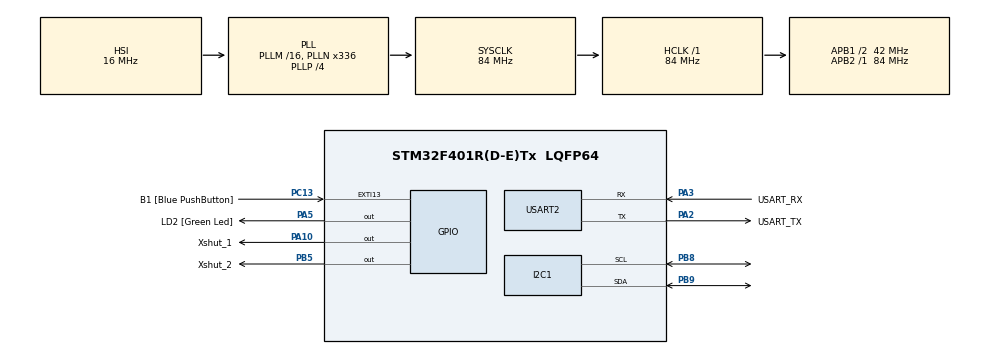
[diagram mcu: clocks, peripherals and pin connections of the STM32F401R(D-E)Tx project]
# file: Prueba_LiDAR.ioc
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Mcu.Family=STM32F4
Mcu.Name=STM32F401R(D-E)Tx
Mcu.Package=LQFP64
NVIC.PriorityGroup=NVIC_PRIORITYGROUP_4
PA10.GPIO_Label=Xshut_1
PA10.Signal=GPIO_Output
PA13.GPIO_Label=TMS
PA13.Mode=Trace_Asynchronous_SW
PA13.Signal=SYS_JTMS-SWDIO
PA14.GPIO_Label=TCK
PA14.Mode=Trace_Asynchronous_SW
PA14.Signal=SYS_JTCK-SWCLK
PA2.GPIO_Label=USART_TX
PA2.GPIO_Mode=GPIO_MODE_AF_PP
PA2.GPIO_PuPd=GPIO_NOPULL
PA2.GPIO_Speed=GPIO_SPEED_FREQ_LOW
PA2.Mode=Asynchronous
PA2.Signal=USART2_TX
PA3.GPIO_Label=USART_RX
PA3.GPIO_Mode=GPIO_MODE_AF_PP
PA3.GPIO_PuPd=GPIO_NOPULL
PA3.GPIO_Speed=GPIO_SPEED_FREQ_LOW
PA3.Mode=Asynchronous
PA3.Signal=USART2_RX
PA5.GPIO_Label=LD2 [Green Led]
PA5.GPIO_Mode=GPIO_MODE_OUTPUT_PP
PA5.GPIO_PuPd=GPIO_NOPULL
PA5.GPIO_Speed=GPIO_SPEED_FREQ_LOW
PA5.Signal=GPIO_Output
PB3.GPIO_Label=SWO
PB3.Mode=Trace_Asynchronous_SW
PB3.Signal=SYS_JTDO-SWO
PB5.GPIO_Label=Xshut_2
PB5.Signal=GPIO_Output
PB8.GPIO_Pu=GPIO_PULLUP
PB8.Mode=I2C
PB8.Signal=I2C1_SCL
PB9.GPIO_Pu=GPIO_PULLUP
PB9.Mode=I2C
PB9.Signal=I2C1_SDA
PC13-ANTI_TAMP.GPIO_Label=B1 [Blue PushButton]
PC13-ANTI_TAMP.GPIO_ModeDefaultEXTI=GPIO_MODE_IT_FALLING
PC13-ANTI_TAMP.GPIO_PuPd=GPIO_NOPULL
PC13-ANTI_TAMP.Signal=GPXTI13
PC14-OSC32_IN.Mode=LSE-External-Oscillator
PC14-OSC32_IN.Signal=RCC_OSC32_IN
PC15-OSC32_OUT.Mode=LSE-External-Oscillator
PC15-OSC32_OUT.Signal=RCC_OSC32_OUT
PH0\ -\ OSC_IN.Mode=HSE-External-Clock-Source
PH0\ -\ OSC_IN.Signal=RCC_OSC_IN
PH1\ -\ OSC_OUT.Mode=HSE-External-Clock-Source
PH1\ -\ OSC_OUT.Signal=RCC_OSC_OUT
ProjectManager.HeapSize=0x200
ProjectManager.StackSize=0x400
ProjectManager.TargetToolchain=STM32CubeIDE
RCC.48MHZClocksFreq_Value=48000000
RCC.AHBFreq_Value=84000000
RCC.APB1CLKDivider=RCC_HCLK_DIV2
RCC.APB1Freq_Value=42000000
RCC.APB1TimFreq_Value=84000000
RCC.APB2Freq_Value=84000000
RCC.APB2TimFreq_Value=84000000
RCC.CortexFreq_Value=84000000
RCC.HCLKFreq_Value=84000000
RCC.HSE_VALUE=8000000
RCC.HSI_VALUE=16000000
RCC.PLLN=336
RCC.PLLP=RCC_PLLP_DIV4
RCC.PLLQ=7
RCC.SYSCLKFreq_VALUE=84000000
RCC.SYSCLKSource=RCC_SYSCLKSOURCE_PLLCLK
RCC.VCOOutputFreq_Value=336000000
USART2.VirtualMode=VM_ASYNC
board=NUCLEO-F401RE

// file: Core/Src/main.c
/* USER CODE BEGIN Header */
/**
  ******************************************************************************
  * @file           : main.c
  * @brief          : Main program body
  ******************************************************************************
  */
/* USER CODE END Header */
#include "main.h"

/* USER CODE BEGIN Includes */
#include <stdio.h>
#include <string.h>
#include "VL53L4CD_api.h"  // <--- Añadimos el "diccionario" del sensor
/* USER CODE END Includes */

I2C_HandleTypeDef hi2c1;

UART_HandleTypeDef huart2;

void SystemClock_Config(void);
static void MX_GPIO_Init(void);
static void MX_I2C1_Init(void);
static void MX_USART2_UART_Init(void);

int main(void)
{

  /* MCU Configuration--------------------------------------------------------*/

  /* Reset of all peripherals, Initializes the Flash interface and the Systick. */
  HAL_Init();

  /* Configure the system clock */
  SystemClock_Config();

  /* Initialize all configured peripherals */
  MX_GPIO_Init();
  MX_I2C1_Init();
  MX_USART2_UART_Init();
  /* USER CODE BEGIN 2 */

    // Variables para las direcciones I2C de los sensores (usamos 8 bits, 0x52 es el de fábrica)
    uint16_t dev1 = 0x52;
    uint16_t dev2 = 0x52;

    // 1. Apagamos LOS DOS sensores por precaución
    HAL_GPIO_WritePin(Xshut_1_GPIO_Port, Xshut_1_Pin, GPIO_PIN_RESET);
    HAL_GPIO_WritePin(Xshut_2_GPIO_Port, Xshut_2_Pin, GPIO_PIN_RESET);
    HAL_Delay(20);

    // 2. Encendemos SOLO el Sensor 1
    HAL_GPIO_WritePin(Xshut_1_GPIO_Port, Xshut_1_Pin, GPIO_PIN_SET);
    HAL_Delay(20);

    // 3. CAMBIO DE DNI DEL SENSOR 1
    // Le ponemos la dirección 0x54 (tiene que ser par por temas del bit de lectura/escritura)
    VL53L4CD_SetI2CAddress(dev1, 0x54);
    dev1 = 0x54; // Actualizamos la variable para el resto del código

    // 4. Encendemos el Sensor 2 (se queda con su dirección 0x52)
    HAL_GPIO_WritePin(Xshut_2_GPIO_Port, Xshut_2_Pin, GPIO_PIN_SET);
    HAL_Delay(20);

    // 5. INICIALIZACIÓN DE LOS DOS SENSORES
    VL53L4CD_SensorInit(dev1);
    VL53L4CD_SensorInit(dev2);

    // 6. Les decimos que empiecen a medir
    VL53L4CD_StartRanging(dev1);
    VL53L4CD_StartRanging(dev2);

    /* USER CODE END 2 */
  /* Infinite loop */
  while (1)
  {

	  /* USER CODE BEGIN 3 */

	      // Aquí declaramos el buffer que faltaba (una caja para 50 letras)
	      char buffer[50];

	      uint8_t isReady1 = 0, isReady2 = 0;
	      VL53L4CD_ResultsData_t results1, results2;

	      // --- LEER SENSOR 1 ---
	      VL53L4CD_CheckForDataReady(dev1, &isReady1);
	      if (isReady1 == 1) {
	          VL53L4CD_ClearInterrupt(dev1);
	          VL53L4CD_GetResult(dev1, &results1);

	          // Imprimimos la distancia del S1
	          sprintf(buffer, "S1: %u mm | ", results1.distance_mm);
	          HAL_UART_Transmit(&huart2, (uint8_t*)buffer, strlen(buffer), 100);
	      }

	      // --- LEER SENSOR 2 ---
	      VL53L4CD_CheckForDataReady(dev2, &isReady2);
	      if (isReady2 == 1) {
	          VL53L4CD_ClearInterrupt(dev2);
	          VL53L4CD_GetResult(dev2, &results2);

	          // Imprimimos la distancia del S2 y un salto de línea
	          sprintf(buffer, "S2: %u mm\r\n", results2.distance_mm);
	          HAL_UART_Transmit(&huart2, (uint8_t*)buffer, strlen(buffer), 100);
	      }

	      HAL_Delay(50); // Pausa pequeña
	    }
	    /* USER CODE END 3 */
}

void SystemClock_Config(void)
{
  RCC_OscInitTypeDef RCC_OscInitStruct = {0};
  RCC_ClkInitTypeDef RCC_ClkInitStruct = {0};

  /** Configure the main internal regulator output voltage
  */
  __HAL_RCC_PWR_CLK_ENABLE();
  __HAL_PWR_VOLTAGESCALING_CONFIG(PWR_REGULATOR_VOLTAGE_SCALE2);

  /** Initializes the RCC Oscillators according to the specified parameters
  * in the RCC_OscInitTypeDef structure.
  */
  RCC_OscInitStruct.OscillatorType = RCC_OSCILLATORTYPE_HSI;
  RCC_OscInitStruct.HSIState = RCC_HSI_ON;
  RCC_OscInitStruct.HSICalibrationValue = RCC_HSICALIBRATION_DEFAULT;
  RCC_OscInitStruct.PLL.PLLState = RCC_PLL_ON;
  RCC_OscInitStruct.PLL.PLLSource = RCC_PLLSOURCE_HSI;
  RCC_OscInitStruct.PLL.PLLM = 16;
  RCC_OscInitStruct.PLL.PLLN = 336;
  RCC_OscInitStruct.PLL.PLLP = RCC_PLLP_DIV4;
  RCC_OscInitStruct.PLL.PLLQ = 7;
  if (HAL_RCC_OscConfig(&RCC_OscInitStruct) != HAL_OK)
  {
    Error_Handler();
  }

  /** Initializes the CPU, AHB and APB buses clocks
  */
  RCC_ClkInitStruct.ClockType = RCC_CLOCKTYPE_HCLK|RCC_CLOCKTYPE_SYSCLK
                              |RCC_CLOCKTYPE_PCLK1|RCC_CLOCKTYPE_PCLK2;
  RCC_ClkInitStruct.SYSCLKSource = RCC_SYSCLKSOURCE_PLLCLK;
  RCC_ClkInitStruct.AHBCLKDivider = RCC_SYSCLK_DIV1;
  RCC_ClkInitStruct.APB1CLKDivider = RCC_HCLK_DIV2;
  RCC_ClkInitStruct.APB2CLKDivider = RCC_HCLK_DIV1;

  if (HAL_RCC_ClockConfig(&RCC_ClkInitStruct, FLASH_LATENCY_2) != HAL_OK)
  {
    Error_Handler();
  }
}

static void MX_I2C1_Init(void)
{

  hi2c1.Instance = I2C1;
  hi2c1.Init.ClockSpeed = 100000;
  hi2c1.Init.DutyCycle = I2C_DUTYCYCLE_2;
  hi2c1.Init.OwnAddress1 = 0;
  hi2c1.Init.AddressingMode = I2C_ADDRESSINGMODE_7BIT;
  hi2c1.Init.DualAddressMode = I2C_DUALADDRESS_DISABLE;
  hi2c1.Init.OwnAddress2 = 0;
  hi2c1.Init.GeneralCallMode = I2C_GENERALCALL_DISABLE;
  hi2c1.Init.NoStretchMode = I2C_NOSTRETCH_DISABLE;
  if (HAL_I2C_Init(&hi2c1) != HAL_OK)
  {
    Error_Handler();
  }

}

static void MX_USART2_UART_Init(void)
{

  huart2.Instance = USART2;
  huart2.Init.BaudRate = 115200;
  huart2.Init.WordLength = UART_WORDLENGTH_8B;
  huart2.Init.StopBits = UART_STOPBITS_1;
  huart2.Init.Parity = UART_PARITY_NONE;
  huart2.Init.Mode = UART_MODE_TX_RX;
  huart2.Init.HwFlowCtl = UART_HWCONTROL_NONE;
  huart2.Init.OverSampling = UART_OVERSAMPLING_16;
  if (HAL_UART_Init(&huart2) != HAL_OK)
  {
    Error_Handler();
  }

}

static void MX_GPIO_Init(void)
{
  GPIO_InitTypeDef GPIO_InitStruct = {0};

  /* GPIO Ports Clock Enable */
  __HAL_RCC_GPIOC_CLK_ENABLE();
  __HAL_RCC_GPIOH_CLK_ENABLE();
  __HAL_RCC_GPIOA_CLK_ENABLE();
  __HAL_RCC_GPIOB_CLK_ENABLE();

  /*Configure GPIO pin Output Level */
  HAL_GPIO_WritePin(GPIOA, LD2_Pin|Xshut_1_Pin, GPIO_PIN_RESET);

  /*Configure GPIO pin Output Level */
  HAL_GPIO_WritePin(Xshut_2_GPIO_Port, Xshut_2_Pin, GPIO_PIN_RESET);

  /*Configure GPIO pin : B1_Pin */
  GPIO_InitStruct.Pin = B1_Pin;
  GPIO_InitStruct.Mode = GPIO_MODE_IT_FALLING;
  GPIO_InitStruct.Pull = GPIO_NOPULL;
  HAL_GPIO_Init(B1_GPIO_Port, &GPIO_InitStruct);

  /*Configure GPIO pins : LD2_Pin Xshut_1_Pin */
  GPIO_InitStruct.Pin = LD2_Pin|Xshut_1_Pin;
  GPIO_InitStruct.Mode = GPIO_MODE_OUTPUT_PP;
  GPIO_InitStruct.Pull = GPIO_NOPULL;
  GPIO_InitStruct.Speed = GPIO_SPEED_FREQ_LOW;
  HAL_GPIO_Init(GPIOA, &GPIO_InitStruct);

  /*Configure GPIO pin : Xshut_2_Pin */
  GPIO_InitStruct.Pin = Xshut_2_Pin;
  GPIO_InitStruct.Mode = GPIO_MODE_OUTPUT_PP;
  GPIO_InitStruct.Pull = GPIO_NOPULL;
  GPIO_InitStruct.Speed = GPIO_SPEED_FREQ_LOW;
  HAL_GPIO_Init(Xshut_2_GPIO_Port, &GPIO_InitStruct);

}

void Error_Handler(void)
{
  __disable_irq();
  while (1)
  {
  }
}
